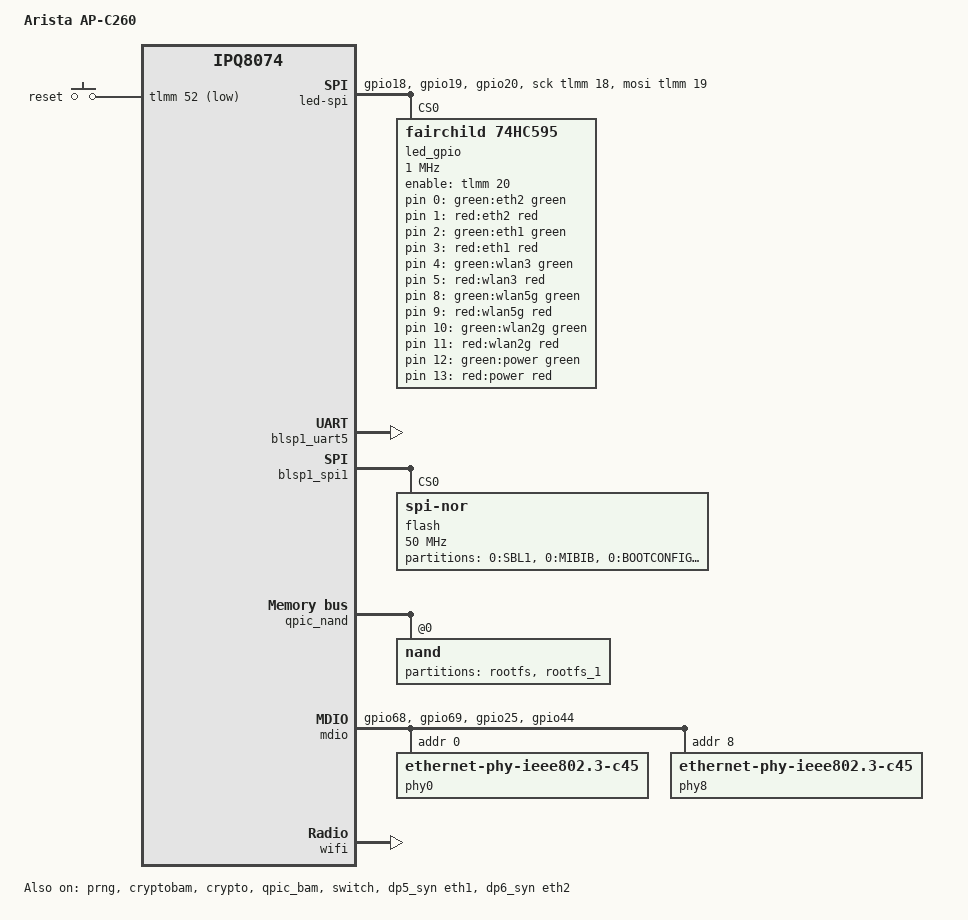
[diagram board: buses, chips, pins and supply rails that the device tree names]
// SPDX-License-Identifier: GPL-2.0-or-later OR MIT

/dts-v1/;

#include "ipq8074.dtsi"
#include "ipq8074-hk-cpu.dtsi"
#include "ipq8074-ess.dtsi"
#include "ipq8074-nss.dtsi"

#include <dt-bindings/gpio/gpio.h>
#include <dt-bindings/input/input.h>
#include <dt-bindings/leds/common.h>

/ {
	model = "Arista AP-C260";
	compatible = "arista,c260", "qcom,ipq8074";

	aliases {
		serial0 = &blsp1_uart5;
		ethernet0 = &dp5_syn;
		ethernet1 = &dp6_syn;
		label-mac-device = &dp5_syn;

		led-boot = &led_power_green;
		led-failsafe = &led_power_red;
		led-running = &led_power_green;
		led-upgrade = &led_power_red;
	};

	chosen {
		stdout-path = "serial0:115200n8";
		bootargs-append = " ubi.mtd=rootfs ubi.block=0,rootfs root=/dev/ubiblock0_0 rootfstype=squashfs rootwait coherent_pool=2M pcie_aspm=off";
	};

	keys {
		compatible = "gpio-keys";
		pinctrl-0 = <&button_pins>;
		pinctrl-names = "default";

		reset {
			label = "reset";
			gpios = <&tlmm 52 GPIO_ACTIVE_LOW>;
			linux,code = <KEY_RESTART>;
			debounce-interval = <60>;
		};
	};

	led-spi {
		compatible = "spi-gpio";
		pinctrl-0 = <&led_spi_pins>;
		pinctrl-names = "default";
		#address-cells = <1>;
		#size-cells = <0>;

		sck-gpios = <&tlmm 18 GPIO_ACTIVE_HIGH>;
		mosi-gpios = <&tlmm 19 GPIO_ACTIVE_HIGH>;

		led_gpio: led-gpio@0 {
			compatible = "fairchild,74hc595";
			reg = <0>;
			gpio-controller;
			#gpio-cells = <2>;
			registers-number = <2>;
			enable-gpios = <&tlmm 20 GPIO_ACTIVE_HIGH>;
			spi-max-frequency = <1000000>;
		};
	};

	leds {
		compatible = "gpio-leds";

		led_eth2_green: eth2-green {
			label = "green:eth2";
			color = <LED_COLOR_ID_GREEN>;
			function = LED_FUNCTION_LAN;
			gpios = <&led_gpio 0 GPIO_ACTIVE_HIGH>;
			default-state = "off";
		};

		led_eth2_red: eth2-red {
			label = "red:eth2";
			color = <LED_COLOR_ID_RED>;
			function = LED_FUNCTION_LAN;
			gpios = <&led_gpio 1 GPIO_ACTIVE_HIGH>;
			default-state = "off";
		};

		led_eth1_green: eth1-green {
			label = "green:eth1";
			color = <LED_COLOR_ID_GREEN>;
			function = LED_FUNCTION_LAN;
			gpios = <&led_gpio 2 GPIO_ACTIVE_HIGH>;
			default-state = "off";
		};

		led_eth1_red: eth1-red {
			label = "red:eth1";
			color = <LED_COLOR_ID_RED>;
			function = LED_FUNCTION_LAN;
			gpios = <&led_gpio 3 GPIO_ACTIVE_HIGH>;
			default-state = "off";
		};

		led_wlan3_green: wlan3-green {
			label = "green:wlan3";
			color = <LED_COLOR_ID_GREEN>;
			function = LED_FUNCTION_WLAN;
			gpios = <&led_gpio 4 GPIO_ACTIVE_HIGH>;
			default-state = "off";
		};

		led_wlan3_red: wlan3-red {
			label = "red:wlan3";
			color = <LED_COLOR_ID_RED>;
			function = LED_FUNCTION_WLAN;
			gpios = <&led_gpio 5 GPIO_ACTIVE_HIGH>;
			default-state = "off";
		};

		led_wlan5g_green: wlan5g-green {
			label = "green:wlan5g";
			color = <LED_COLOR_ID_GREEN>;
			function = LED_FUNCTION_WLAN_5GHZ;
			gpios = <&led_gpio 8 GPIO_ACTIVE_HIGH>;
			default-state = "off";
		};

		led_wlan5g_red: wlan5g-red {
			label = "red:wlan5g";
			color = <LED_COLOR_ID_RED>;
			function = LED_FUNCTION_WLAN_5GHZ;
			gpios = <&led_gpio 9 GPIO_ACTIVE_HIGH>;
			default-state = "off";
		};

		led_wlan2g_green: wlan2g-green {
			label = "green:wlan2g";
			color = <LED_COLOR_ID_GREEN>;
			function = LED_FUNCTION_WLAN_2GHZ;
			gpios = <&led_gpio 10 GPIO_ACTIVE_HIGH>;
			default-state = "off";
		};

		led_wlan2g_red: wlan2g-red {
			label = "red:wlan2g";
			color = <LED_COLOR_ID_RED>;
			function = LED_FUNCTION_WLAN_2GHZ;
			gpios = <&led_gpio 11 GPIO_ACTIVE_HIGH>;
			default-state = "off";
		};

		led_power_green: power-green {
			label = "green:power";
			color = <LED_COLOR_ID_GREEN>;
			function = LED_FUNCTION_POWER;
			gpios = <&led_gpio 12 GPIO_ACTIVE_HIGH>;
			default-state = "on";
		};

		led_power_red: power-red {
			label = "red:power";
			color = <LED_COLOR_ID_RED>;
			function = LED_FUNCTION_POWER;
			gpios = <&led_gpio 13 GPIO_ACTIVE_HIGH>;
			default-state = "off";
		};
	};
};

&tlmm {
	button_pins: button-pins {
		reset-pins {
			pins = "gpio52";
			function = "gpio";
			drive-strength = <8>;
			bias-pull-up;
		};
	};

	led_spi_pins: led-spi-pins {
		led-clock {
			pins = "gpio18";
			function = "gpio";
			drive-strength = <8>;
			bias-pull-down;
		};

		led-data {
			pins = "gpio19";
			function = "gpio";
			drive-strength = <8>;
			bias-pull-down;
		};

		led-enable {
			pins = "gpio20";
			function = "gpio";
			drive-strength = <8>;
			bias-pull-up;
		};
	};

	mdio_pins: mdio-pins {
		mdc {
			pins = "gpio68";
			function = "mdc";
			drive-strength = <8>;
			bias-pull-up;
		};

		mdio {
			pins = "gpio69";
			function = "mdio";
			drive-strength = <8>;
			bias-pull-up;
		};

		phy-reset-0 {
			pins = "gpio25";
			function = "gpio";
			bias-pull-up;
		};

		phy-reset-1 {
			pins = "gpio44";
			function = "gpio";
			bias-pull-up;
		};
	};
};

&blsp1_uart5 {
	status = "okay";
};

&prng {
	status = "okay";
};

&cryptobam {
	status = "okay";
};

&crypto {
	status = "okay";
};

&blsp1_spi1 {
	cs-select = <0>;
	status = "okay";

	flash@0 {
		compatible = "jedec,spi-nor";
		reg = <0>;
		spi-max-frequency = <50000000>;

		partitions {
			compatible = "fixed-partitions";
			#address-cells = <1>;
			#size-cells = <1>;

			partition@0 {
				label = "0:SBL1";
				reg = <0x0 0x50000>;
				read-only;
			};

			partition@50000 {
				label = "0:MIBIB";
				reg = <0x50000 0x10000>;
				read-only;
			};

			partition@60000 {
				label = "0:BOOTCONFIG";
				reg = <0x60000 0x20000>;
			};

			partition@80000 {
				label = "0:BOOTCONFIG1";
				reg = <0x80000 0x20000>;
			};

			partition@a0000 {
				label = "0:QSEE";
				reg = <0xa0000 0x180000>;
				read-only;
			};

			partition@220000 {
				label = "0:QSEE_1";
				reg = <0x220000 0x180000>;
				read-only;
			};

			partition@3a0000 {
				label = "0:DEVCFG";
				reg = <0x3a0000 0x10000>;
				read-only;
			};

			partition@3b0000 {
				label = "0:DEVCFG_1";
				reg = <0x3b0000 0x10000>;
				read-only;
			};

			partition@3c0000 {
				label = "0:APDP";
				reg = <0x3c0000 0x10000>;
				read-only;
			};

			partition@3d0000 {
				label = "0:APDP_1";
				reg = <0x3d0000 0x10000>;
				read-only;
			};

			partition@3e0000 {
				label = "0:RPM";
				reg = <0x3e0000 0x40000>;
				read-only;
			};

			partition@420000 {
				label = "0:RPM_1";
				reg = <0x420000 0x40000>;
				read-only;
			};

			partition@460000 {
				label = "0:CDT";
				reg = <0x460000 0x10000>;
				read-only;
			};

			partition@470000 {
				label = "0:CDT_1";
				reg = <0x470000 0x10000>;
				read-only;
			};

			partition@480000 {
				label = "0:APPSBLENV";
				reg = <0x480000 0x10000>;
			};

			partition@490000 {
				label = "0:APPSBL";
				reg = <0x490000 0x100000>;
				read-only;
			};

			partition@590000 {
				label = "0:APPSBL_1";
				reg = <0x590000 0x100000>;
				read-only;
			};

			partition@690000 {
				label = "0:ART";
				reg = <0x690000 0x40000>;
				read-only;
			};

			partition@6d0000 {
				label = "0:ETHPHYFW";
				reg = <0x6d0000 0x80000>;
				read-only;
			};

			partition@750000 {
				label = "0:HLOS";
				reg = <0x750000 0x800000>;
			};

			partition@f50000 {
				label = "0:HLOS_1";
				reg = <0xf50000 0x800000>;
			};

			partition@1750000 {
				label = "CONFIG";
				reg = <0x1750000 0x400000>;
			};

			partition@1b50000 {
				label = "LOGGING";
				reg = <0x1b50000 0x100000>;
			};

			partition@1c50000 {
				label = "RESERVED";
				reg = <0x1c50000 0x3b0000>;
			};
		};
	};
};

&qpic_bam {
	status = "okay";
};

&qpic_nand {
	status = "okay";

	nand@0 {
		reg = <0>;
		nand-ecc-strength = <4>;
		nand-ecc-step-size = <512>;
		nand-bus-width = <8>;

		partitions {
			compatible = "fixed-partitions";
			#address-cells = <1>;
			#size-cells = <1>;

			partition@0 {
				label = "rootfs";
				reg = <0x0 0x10000000>;
			};

			partition@10000000 {
				label = "rootfs_1";
				reg = <0x10000000 0x10000000>;
			};
		};
	};
};

&mdio {
	status = "okay";
	pinctrl-0 = <&mdio_pins>;
	pinctrl-names = "default";

	phy0: ethernet-phy@0 {
		compatible = "ethernet-phy-ieee802.3-c45";
		reg = <0>;
		#thermal-sensor-cells = <0>;
	};

	phy8: ethernet-phy@8 {
		compatible = "ethernet-phy-ieee802.3-c45";
		reg = <8>;
		#thermal-sensor-cells = <0>;
	};
};

&switch {
	status = "okay";

	switch_lan_bmp = <0x20>;
	switch_wan_bmp = <0x40>;
	switch_mac_mode = <0xff>;
	switch_mac_mode1 = <0xd>;
	switch_mac_mode2 = <0xd>;

	qcom,port_phyinfo {
		port@5 {
			port_id = <5>;
			phy_address = <8>;
			compatible = "ethernet-phy-ieee802.3-c45";
			ethernet-phy-ieee802.3-c45;
		};

		port@6 {
			port_id = <6>;
			phy_address = <0>;
			compatible = "ethernet-phy-ieee802.3-c45";
			ethernet-phy-ieee802.3-c45;
		};
	};
};

&edma {
	status = "okay";
};

&dp5_syn {
	status = "okay";
	phy-mode = "usxgmii";
	phy-handle = <&phy8>;
	label = "eth1";
};

&dp6_syn {
	status = "okay";
	phy-mode = "usxgmii";
	phy-handle = <&phy0>;
	label = "eth2";
};


/*
 * AP-C260 has a PCIe QCA988X multipurpose third radio on PCIe0.
 * Keep it disabled by default; enabling it shifts radio numbering to:
 *   phy0 = QCA988X third radio, phy1 = 5G, phy2 = 2.4G.
 */
&pcie_qmp0 {
	status = "disabled";
};

&pcie0 {
	status = "disabled";

	perst-gpio = <&tlmm 58 GPIO_ACTIVE_LOW>;
};

&wifi {
	status = "okay";
	qcom,ath11k-fw-memory-mode = <1>;
	qcom,ath11k-calibration-variant = "Arista-C260";
};
